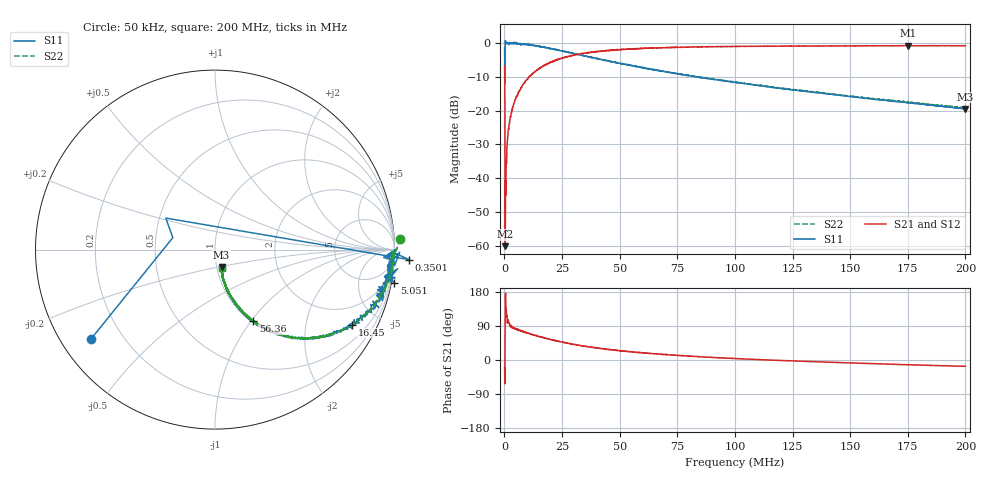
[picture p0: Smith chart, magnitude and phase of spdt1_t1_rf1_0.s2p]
! 26-Feb-26 10:44:40 AM
! E:\VNA_MEASUREMENTS\SPDT1\SPDT1_T1_RF1_0.S2P
! CHANNEL.1
! TR.MEASUREMENT
! CORRECTED.DATA
# GHZ S RI R 50.0
! FREQ.GHZ  S11RE  S11IM  S21RE  S21IM  S12RE  S12IM  S22RE  S22IM
!; PortSelection: Port_12
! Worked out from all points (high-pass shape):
!   2000 points, 50 kHz to 200 MHz, reference 50 ohm
!   highest |S21| = -0.81 dB at 175.3 MHz (marker M1); lowest = -60.0 dB at 350.1 kHz (marker M2)
!   |S21| within 3 dB of the highest: 29.11 MHz to 29.46 MHz (344.8 kHz wide, 1.18 % of centre); 29.46 MHz to end of sweep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
!   lowest |S11| = -19.5 dB at 200 MHz (marker M3), VSWR 1.24, Z = 52.7 - j10.6 ohm
!   |S11| at or under -10 dB: 129.3 kHz to 239.8 kHz (110.5 kHz wide, 59.8 % of centre); 82.68187 MHz to 82.9397 MHz (257.8 kHz wide, 0.311 % of centre); 83.05 MHz to end of sweep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
!   |S22| runs from -19.3 to 0.3 dB; largest |S21 - S12| = 0.45
!   S11 on the Smith chart (normalised r, x): 50 kHz: 0.09, -0.32; 350.1 kHz: -18, -11; 5.051 MHz: -1, -11; 16.45 MHz: 1.04, -3.64; 56.36 MHz: 1.03, -1.02; 200 MHz: 1.05, -0.21
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5e-05  -0.6912 -0.4985  0.4218 -0.1551  0.00163 0.00601  1.031 0.0596
0.000350075  1.082 -0.056  -0.000966 0.00025  4.36e-05 0.0105  0.9925 -0.0279
0.001150275  0.9984 -0.0512  -0.011 0.0288  -0.00166 0.033  0.9858 -0.0341
0.0012503  0.9706 -0.0666  -0.0046 0.0359  -0.000643 0.0363  0.9956 -0.0458
0.001350325  0.9772 -0.0979  -0.00845 0.0374  -0.000676 0.0393  0.9889 -0.0496
0.00145035  0.9925 -0.0321  -0.0118 0.0398  -0.00177 0.0419  0.9904 -0.0424
0.001750425  0.9927 -0.0618  -0.0122 0.0528  -0.000259 0.0527  0.9906 -0.0563
0.002550625  0.9867 -0.0885  0.00289 0.0819  0.00328 0.0767  0.984 -0.0885
0.003750925  0.9813 -0.1322  0.00964 0.115  0.0118 0.1126  0.9717 -0.1309
0.005051251  0.9986 -0.185  0.0243 0.1563  0.0241 0.1543  0.9716 -0.1613
0.009852451  0.8958 -0.3101  0.095 0.2745  0.0947 0.275  0.8965 -0.2982
0.0164541  0.7657 -0.4179  0.2241 0.3839  0.2257 0.3876  0.7586 -0.4198
0.02255563  0.6274 -0.4749  0.3531 0.4289  0.3563 0.4356  0.6307 -0.4786
0.03345835  0.4364 -0.4889  0.5533 0.4214  0.5427 0.4223  0.436 -0.4929
0.04376093  0.3083 -0.4594  0.6727 0.3757  0.6684 0.3732  0.3112 -0.4594
0.05636408  0.2144 -0.397  0.7544 0.2944  0.7607 0.2924  0.2173 -0.404
0.06676668  0.1613 -0.358  0.8136 0.2314  0.8127 0.2304  0.1623 -0.3559
0.100075  0.0795 -0.2497  0.8852 0.0575  0.8834 0.0569  0.0822 -0.2525
0.1333833  0.0497 -0.1809  0.8945 -0.0639  0.8953 -0.0637  0.052 -0.184
0.1666917  0.0386 -0.1347  0.8911 -0.174  0.89 -0.1717  0.0422 -0.1373
0.1752938  0.0365 -0.1249  0.889 -0.1999  0.8862 -0.1966  0.0407 -0.1295
0.2  0.0367 -0.0994  0.8681 -0.2581  0.8654 -0.2626  0.0388 -0.1046
